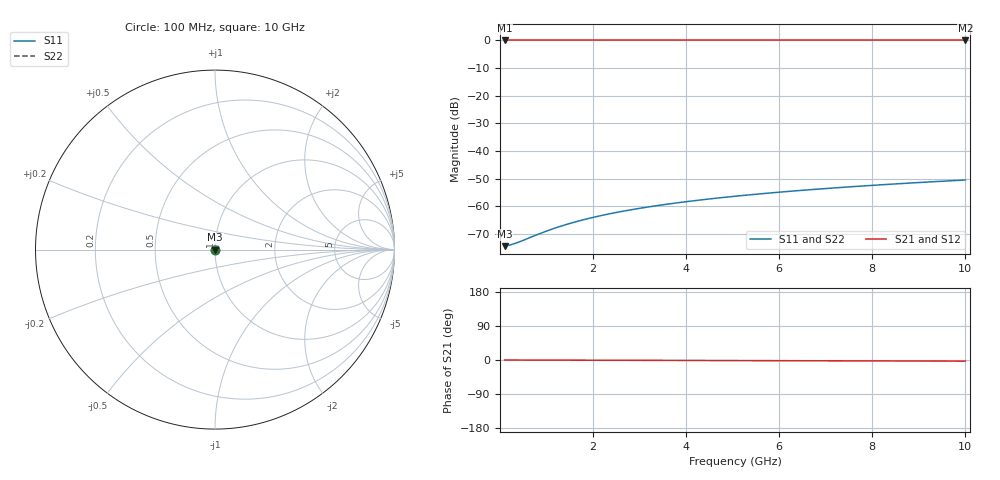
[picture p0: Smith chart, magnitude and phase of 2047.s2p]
# Hz S RI R 50.00
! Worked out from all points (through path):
!   100 points, 100 MHz to 10 GHz, reference 50 ohm
!   highest |S21| = 0.00 dB at 100 MHz (marker M1); lowest = 0.0 dB at 10 GHz (marker M2)
!   lowest |S11| = -74.4 dB at 100 MHz (marker M3), VSWR 1.00, Z = 50 + j0.00302 ohm
!   |S11| at or under -10 dB: start of sweep to end of sweep
!   |S22| runs from -74.4 to -50.4 dB; largest |S21 - S12| = 1e-15
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1e8  0.000189 3.01e-05  0.9998 -0.000517  0.9998 -0.000517  0.000189 3.01e-05
2e8  0.00019 6.03e-05  0.9998 -0.00103  0.9998 -0.00103  0.00019 6.03e-05
3e8  0.000191 9.04e-05  0.9998 -0.00155  0.9998 -0.00155  0.000191 9.04e-05
4e8  0.000192 0.000121  0.9998 -0.00207  0.9998 -0.00207  0.000192 0.000121
9e8  0.000194 0.000271  0.9998 -0.00466  0.9998 -0.00466  0.000194 0.000271
1.2e9  0.000196 0.000361  0.9998 -0.00621  0.9998 -0.00621  0.000196 0.000361
1.5e9  0.000197 0.000451  0.9998 -0.00776  0.9998 -0.00776  0.000197 0.000451
1.8e9  0.000199 0.000541  0.9998 -0.00932  0.9998 -0.00932  0.000199 0.000541
2.1e9  0.000201 0.000631  0.9997 -0.0109  0.9997 -0.0109  0.000201 0.000631
2.5e9  0.000204 0.000751  0.9997 -0.0129  0.9997 -0.0129  0.000204 0.000751
2.9e9  0.000208 0.000871  0.9997 -0.015  0.9997 -0.015  0.000208 0.000871
3.4e9  0.000213 0.00102  0.9996 -0.0176  0.9996 -0.0176  0.000213 0.00102
3.8e9  0.000217 0.00114  0.9996 -0.0197  0.9996 -0.0197  0.000217 0.00114
4.2e9  0.000222 0.00126  0.9995 -0.0218  0.9995 -0.0218  0.000222 0.00126
4.6e9  0.000228 0.00138  0.9995 -0.0238  0.9995 -0.0238  0.000228 0.00138
5.1e9  0.000236 0.00153  0.9994 -0.0264  0.9994 -0.0264  0.000236 0.00153
5.9e9  0.000249 0.00176  0.9993 -0.0306  0.9993 -0.0306  0.000249 0.00176
6.7e9  0.000265 0.002  0.9992 -0.0348  0.9992 -0.0348  0.000265 0.002
7.5e9  0.000283 0.00224  0.999 -0.0389  0.999 -0.0389  0.000283 0.00224
8.4e9  0.000305 0.00251  0.9988 -0.0436  0.9988 -0.0436  0.000305 0.00251
9.2e9  0.000327 0.00275  0.9986 -0.0478  0.9986 -0.0478  0.000327 0.00275
1e10  0.000351 0.00299  0.9984 -0.052  0.9984 -0.052  0.000351 0.00299
